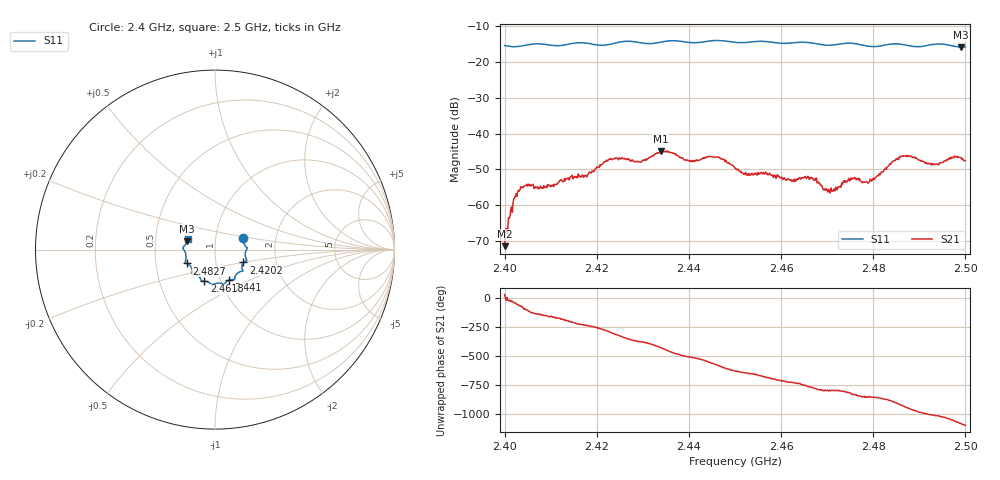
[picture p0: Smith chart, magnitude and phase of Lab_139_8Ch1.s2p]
# Hz S RI R 50
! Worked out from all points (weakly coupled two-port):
!   601 points, 2.4 GHz to 2.5 GHz, reference 50 ohm
!   highest |S21| = -44.83 dB at 2.4338 GHz (marker M1); lowest = -71.5 dB at 2.4 GHz (marker M2)
!   lowest |S11| = -15.8 dB at 2.499 GHz (marker M3), VSWR 1.39, Z = 36.4 + j3.46 ohm
!   |S11| at or under -10 dB: start of sweep to end of sweep
!   S12 and S22 are empty: the file has one direction only
!   S11 on the Smith chart (normalised r, x): 2.4 GHz: 1.36, +0.18; 2.4202 GHz: 1.36, -0.20; 2.441 GHz: 1.10, -0.39; 2.4618 GHz: 0.84, -0.30; 2.4827 GHz: 0.72, -0.12; 2.5 GHz: 0.73, +0.09
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2.4e9  0.1588 0.063  0.00024 0.000115  0 0  0 0
2.401833e9  0.1594 0.0411  0.000835 -0.000696  0 0  0 0
2.403833e9  0.1679 0.0207  0.000363 -0.00175  0 0  0 0
2.416667e9  0.1773 -0.0609  -0.00154 0.00192  0 0  0 0
2.420167e9  0.1586 -0.0714  -0.000704 0.00333  0 0  0 0
2.422667e9  0.1493 -0.094  0.00184 0.00399  0 0  0 0
2.433333e9  0.1117 -0.1508  0.0026 -0.00476  0 0  0 0
2.433833e9  0.1105 -0.1551  0.00196 -0.00539  0 0  0 0
2.441e9  0.0786 -0.1698  -0.00386 -0.00151  0 0  0 0
2.446167e9  0.0496 -0.1952  -0.00342 0.00324  0 0  0 0
2.45e9  0.0288 -0.1874  6.81e-05 0.00329  0 0  0 0
2.461833e9  -0.0591 -0.1754  0.00225 -0.000302  0 0  0 0
2.466667e9  -0.0787 -0.1683  0.00145 -0.00197  0 0  0 0
2.470667e9  -0.1011 -0.1403  0.000202 -0.00147  0 0  0 0
2.475667e9  -0.1275 -0.1318  -0.00105 -0.00209  0 0  0 0
2.479167e9  -0.1303 -0.1036  -0.00146 -0.00154  0 0  0 0
2.482667e9  -0.1562 -0.0772  -0.00301 -0.00135  0 0  0 0
2.483333e9  -0.1604 -0.0753  -0.00344 -0.000891  0 0  0 0
2.486333e9  -0.1647 -0.0648  -0.00421 0.00246  0 0  0 0
2.493167e9  -0.1781 0.00547  0.00152 0.00344  0 0  0 0
2.499e9  -0.1558 0.0463  0.00457 -0.000354  0 0  0 0
2.5e9  -0.1523 0.0607  0.00383 -0.00154  0 0  0 0
